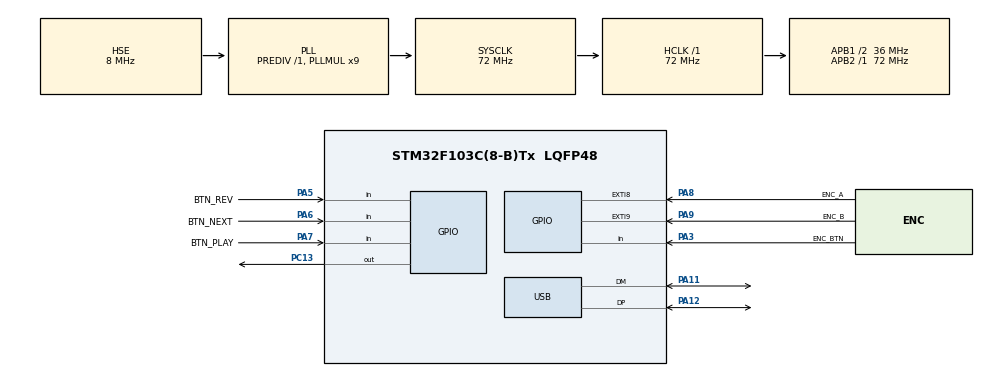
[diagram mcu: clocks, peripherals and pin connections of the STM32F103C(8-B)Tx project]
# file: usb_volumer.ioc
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Mcu.Family=STM32F1
Mcu.Name=STM32F103C(8-B)Tx
Mcu.Package=LQFP48
NVIC.EXTI9_5_IRQn=true\:0\:0\:false\:false\:true\:true\:true
NVIC.PriorityGroup=NVIC_PRIORITYGROUP_4
NVIC.USB_LP_CAN1_RX0_IRQn=true\:0\:0\:false\:false\:true\:false\:true
PA11.Mode=Device
PA11.Signal=USB_DM
PA12.Mode=Device
PA12.Signal=USB_DP
PA13.Mode=Serial_Wire
PA13.Signal=SYS_JTMS-SWDIO
PA14.Mode=Serial_Wire
PA14.Signal=SYS_JTCK-SWCLK
PA3.GPIO_Label=ENC_BTN
PA3.GPIO_PuPd=GPIO_PULLUP
PA3.Signal=GPIO_Input
PA5.GPIO_Label=BTN_REV
PA5.GPIO_PuPd=GPIO_PULLUP
PA5.Signal=GPIO_Input
PA6.GPIO_Label=BTN_NEXT
PA6.GPIO_PuPd=GPIO_PULLUP
PA6.Signal=GPIO_Input
PA7.GPIO_Label=BTN_PLAY
PA7.GPIO_PuPd=GPIO_PULLUP
PA7.Signal=GPIO_Input
PA8.GPIO_Label=ENC_A
PA8.GPIO_ModeDefaultEXTI=GPIO_MODE_IT_RISING_FALLING
PA8.Signal=GPXTI8
PA9.GPIO_Label=ENC_B
PA9.GPIO_ModeDefaultEXTI=GPIO_MODE_IT_RISING_FALLING
PA9.Signal=GPXTI9
PC13-TAMPER-RTC.Signal=GPIO_Output
PD0-OSC_IN.Mode=HSE-External-Oscillator
PD0-OSC_IN.Signal=RCC_OSC_IN
PD1-OSC_OUT.Mode=HSE-External-Oscillator
PD1-OSC_OUT.Signal=RCC_OSC_OUT
ProjectManager.HeapSize=0x200
ProjectManager.StackSize=0x400
ProjectManager.TargetToolchain=MDK-ARM V5.27
RCC.AHBFreq_Value=72000000
RCC.APB1CLKDivider=RCC_HCLK_DIV2
RCC.APB1Freq_Value=36000000
RCC.APB1TimFreq_Value=72000000
RCC.APB2Freq_Value=72000000
RCC.APB2TimFreq_Value=72000000
RCC.HCLKFreq_Value=72000000
RCC.PLLMUL=RCC_PLL_MUL9
RCC.SYSCLKFreq_VALUE=72000000
RCC.SYSCLKSource=RCC_SYSCLKSOURCE_PLLCLK
RCC.USBFreq_Value=48000000
RCC.USBPrescaler=RCC_USBCLKSOURCE_PLL_DIV1_5
USB_DEVICE.CLASS_NAME_FS=HID
USB_DEVICE.VirtualMode=Hid
USB_DEVICE.VirtualModeFS=Hid_FS
VP_USB_DEVICE_VS_USB_DEVICE_HID_FS.Mode=HID_FS
board=custom

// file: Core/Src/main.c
/* USER CODE BEGIN Header */
/**
  ******************************************************************************
  * @file           : main.c
  * @brief          : Main program body
  ******************************************************************************
  * @attention
  *
  * <h2><center>&copy; Copyright (c) 2021 STMicroelectronics.
  * All rights reserved.</center></h2>
  *
  * This software component is licensed by ST under Ultimate Liberty license
  * SLA0044, the "License"; You may not use this file except in compliance with
  * the License. You may obtain a copy of the License at:
  *                             www.st.com/SLA0044
  *
  ******************************************************************************
  */
/* USER CODE END Header */
#include "main.h"
#include "usb_device.h"

/* USER CODE BEGIN Includes */
#include "usbd_core.h"
#include "usbd_hid.h"
/* USER CODE END Includes */

/* USER CODE BEGIN PTD */
#define USB_HID_SCAN_NEXT 0x01
#define USB_HID_SCAN_PREV 0x02
#define USB_HID_STOP      0x04
#define USB_HID_EJECT     0x08
#define USB_HID_PAUSE     0x10
#define USB_HID_MUTE      0x20
#define USB_HID_VOL_UP    0x40
#define USB_HID_VOL_DEC   0x80

// USB keyboard codes
#define USB_HID_MODIFIER_LEFT_CTRL   0x01
#define USB_HID_MODIFIER_LEFT_SHIFT  0x02
#define USB_HID_MODIFIER_LEFT_ALT    0x04
#define USB_HID_MODIFIER_LEFT_GUI    0x08 // (Win/Apple/Meta)
#define USB_HID_MODIFIER_RIGHT_CTRL  0x10
#define USB_HID_MODIFIER_RIGHT_SHIFT 0x20
#define USB_HID_MODIFIER_RIGHT_ALT   0x40
#define USB_HID_MODIFIER_RIGHT_GUI   0x80
#define USB_HID_KEY_L     0x0F

/* USER CODE END PTD */

/* USER CODE BEGIN PM */

extern USBD_HandleTypeDef hUsbDeviceFS;
/* USER CODE END PM */

void SystemClock_Config(void);
static void MX_GPIO_Init(void);
/* USER CODE BEGIN PFP */

//void setCount(int state);
/* USER CODE END PFP */

/* USER CODE BEGIN 0 */
volatile int state = 0;
volatile int rotation_side = 0;
/* USER CODE END 0 */

	void dumb_blinking(void){
		for(int i = 0; i < 2; i++){
			HAL_GPIO_WritePin(GPIOC, GPIO_PIN_13, GPIO_PIN_RESET);
			HAL_Delay(30);
			HAL_GPIO_WritePin(GPIOC, GPIO_PIN_13, GPIO_PIN_SET);
			HAL_Delay(30);
		}
	}

int main(void)
{

  /* MCU Configuration--------------------------------------------------------*/

  /* Reset of all peripherals, Initializes the Flash interface and the Systick. */
  HAL_Init();

  /* Configure the system clock */
  SystemClock_Config();

  /* Initialize all configured peripherals */
  MX_GPIO_Init();
  MX_USB_DEVICE_Init();
  /* USER CODE BEGIN 2 */
	  // HID Mouse

	struct mediaHID_t {
    uint8_t id;
    uint8_t keys;
  };

	struct mediaHID_t mediaHID;
  mediaHID.id = 2;
  mediaHID.keys = 0;

	int mute_state = 0, next_state = 0, play_state = 0, rev_state = 0;
	HAL_GPIO_WritePin(GPIOC, GPIO_PIN_13, GPIO_PIN_SET);
  /* USER CODE END 2 */

  /* Infinite loop */
  while (1)
  {

    /* USER CODE BEGIN 3 */
			if(rotation_side > 0){
				mediaHID.keys = USB_HID_VOL_UP;
					//HAL_GPIO_TogglePin(GPIOC, GPIO_PIN_13);
					HAL_GPIO_WritePin(GPIOC, GPIO_PIN_13, GPIO_PIN_RESET);
					USBD_HID_SendReport(&hUsbDeviceFS, (uint8_t*)&mediaHID, sizeof(struct mediaHID_t));
					HAL_Delay(20);
					mediaHID.keys = 0;
					USBD_HID_SendReport(&hUsbDeviceFS, (uint8_t*)&mediaHID, sizeof(struct mediaHID_t));
					HAL_GPIO_WritePin(GPIOC, GPIO_PIN_13, GPIO_PIN_SET);
					HAL_Delay(20);
					rotation_side = 0;
			}
			else if (rotation_side < 0){
					mediaHID.keys = USB_HID_VOL_DEC;
					//HAL_GPIO_TogglePin(GPIOC, GPIO_PIN_13);
					HAL_GPIO_WritePin(GPIOC, GPIO_PIN_13, GPIO_PIN_RESET);
					USBD_HID_SendReport(&hUsbDeviceFS, (uint8_t*)&mediaHID, sizeof(struct mediaHID_t));
					HAL_Delay(20);
					mediaHID.keys = 0;
					USBD_HID_SendReport(&hUsbDeviceFS, (uint8_t*)&mediaHID, sizeof(struct mediaHID_t));
					HAL_GPIO_WritePin(GPIOC, GPIO_PIN_13, GPIO_PIN_SET);
					HAL_Delay(20);
				rotation_side = 0;
			}

		if(HAL_GPIO_ReadPin(ENC_BTN_GPIO_Port, ENC_BTN_Pin)){
			if (mute_state){
				mediaHID.keys = USB_HID_MUTE;
				mute_state = 0;
				dumb_blinking();
				USBD_HID_SendReport(&hUsbDeviceFS, (uint8_t*)&mediaHID, sizeof(struct mediaHID_t));
				HAL_Delay(20);
				mediaHID.keys = 0;
				USBD_HID_SendReport(&hUsbDeviceFS, (uint8_t*)&mediaHID, sizeof(struct mediaHID_t));
				HAL_Delay(20);

			}
		}
		else{
			mute_state = 1;
		}

		if(HAL_GPIO_ReadPin(BTN_NEXT_GPIO_Port, BTN_NEXT_Pin)){
			if (next_state){
				mediaHID.keys = USB_HID_SCAN_NEXT;
				next_state = 0;
				dumb_blinking();
				USBD_HID_SendReport(&hUsbDeviceFS, (uint8_t*)&mediaHID, sizeof(struct mediaHID_t));
				HAL_Delay(20);
				mediaHID.keys = 0;
				USBD_HID_SendReport(&hUsbDeviceFS, (uint8_t*)&mediaHID, sizeof(struct mediaHID_t));
				HAL_Delay(20);

			}
		}
		else{
			next_state = 1;
		}

		if(HAL_GPIO_ReadPin(BTN_PLAY_GPIO_Port, BTN_PLAY_Pin)){
			if (play_state){
				mediaHID.keys = USB_HID_PAUSE;
				play_state = 0;
				dumb_blinking();
				USBD_HID_SendReport(&hUsbDeviceFS, (uint8_t*)&mediaHID, sizeof(struct mediaHID_t));
				HAL_Delay(20);
				mediaHID.keys = 0;
				USBD_HID_SendReport(&hUsbDeviceFS, (uint8_t*)&mediaHID, sizeof(struct mediaHID_t));
				HAL_Delay(20);

			}
		}
		else{
			play_state = 1;
		}

		if(HAL_GPIO_ReadPin(BTN_REV_GPIO_Port, BTN_REV_Pin)){
			if (rev_state){
				mediaHID.keys = USB_HID_SCAN_PREV;
				rev_state = 0;
				dumb_blinking();
				USBD_HID_SendReport(&hUsbDeviceFS, (uint8_t*)&mediaHID, sizeof(struct mediaHID_t));
				HAL_Delay(20);
				mediaHID.keys = 0;
				USBD_HID_SendReport(&hUsbDeviceFS, (uint8_t*)&mediaHID, sizeof(struct mediaHID_t));
				HAL_Delay(20);

			}
		}
		else{
			rev_state = 1;
		}
  }
  /* USER CODE END 3 */
}

void SystemClock_Config(void)
{
  RCC_OscInitTypeDef RCC_OscInitStruct = {0};
  RCC_ClkInitTypeDef RCC_ClkInitStruct = {0};
  RCC_PeriphCLKInitTypeDef PeriphClkInit = {0};

  /** Initializes the RCC Oscillators according to the specified parameters
  * in the RCC_OscInitTypeDef structure.
  */
  RCC_OscInitStruct.OscillatorType = RCC_OSCILLATORTYPE_HSE;
  RCC_OscInitStruct.HSEState = RCC_HSE_ON;
  RCC_OscInitStruct.HSEPredivValue = RCC_HSE_PREDIV_DIV1;
  RCC_OscInitStruct.HSIState = RCC_HSI_ON;
  RCC_OscInitStruct.PLL.PLLState = RCC_PLL_ON;
  RCC_OscInitStruct.PLL.PLLSource = RCC_PLLSOURCE_HSE;
  RCC_OscInitStruct.PLL.PLLMUL = RCC_PLL_MUL9;
  if (HAL_RCC_OscConfig(&RCC_OscInitStruct) != HAL_OK)
  {
    Error_Handler();
  }
  /** Initializes the CPU, AHB and APB buses clocks
  */
  RCC_ClkInitStruct.ClockType = RCC_CLOCKTYPE_HCLK|RCC_CLOCKTYPE_SYSCLK
                              |RCC_CLOCKTYPE_PCLK1|RCC_CLOCKTYPE_PCLK2;
  RCC_ClkInitStruct.SYSCLKSource = RCC_SYSCLKSOURCE_PLLCLK;
  RCC_ClkInitStruct.AHBCLKDivider = RCC_SYSCLK_DIV1;
  RCC_ClkInitStruct.APB1CLKDivider = RCC_HCLK_DIV2;
  RCC_ClkInitStruct.APB2CLKDivider = RCC_HCLK_DIV1;

  if (HAL_RCC_ClockConfig(&RCC_ClkInitStruct, FLASH_LATENCY_2) != HAL_OK)
  {
    Error_Handler();
  }
  PeriphClkInit.PeriphClockSelection = RCC_PERIPHCLK_USB;
  PeriphClkInit.UsbClockSelection = RCC_USBCLKSOURCE_PLL_DIV1_5;
  if (HAL_RCCEx_PeriphCLKConfig(&PeriphClkInit) != HAL_OK)
  {
    Error_Handler();
  }
}

static void MX_GPIO_Init(void)
{
  GPIO_InitTypeDef GPIO_InitStruct = {0};

  /* GPIO Ports Clock Enable */
  __HAL_RCC_GPIOC_CLK_ENABLE();
  __HAL_RCC_GPIOD_CLK_ENABLE();
  __HAL_RCC_GPIOA_CLK_ENABLE();

  /*Configure GPIO pin Output Level */
  HAL_GPIO_WritePin(GPIOC, GPIO_PIN_13, GPIO_PIN_RESET);

  /*Configure GPIO pin : PC13 */
  GPIO_InitStruct.Pin = GPIO_PIN_13;
  GPIO_InitStruct.Mode = GPIO_MODE_OUTPUT_PP;
  GPIO_InitStruct.Pull = GPIO_NOPULL;
  GPIO_InitStruct.Speed = GPIO_SPEED_FREQ_LOW;
  HAL_GPIO_Init(GPIOC, &GPIO_InitStruct);

  /*Configure GPIO pins : ENC_BTN_Pin BTN_PLAY_Pin BTN_NEXT_Pin BTN_REV_Pin */
  GPIO_InitStruct.Pin = ENC_BTN_Pin|BTN_PLAY_Pin|BTN_NEXT_Pin|BTN_REV_Pin;
  GPIO_InitStruct.Mode = GPIO_MODE_INPUT;
  GPIO_InitStruct.Pull = GPIO_PULLUP;
  HAL_GPIO_Init(GPIOA, &GPIO_InitStruct);

  /*Configure GPIO pins : ENC_A_Pin ENC_B_Pin */
  GPIO_InitStruct.Pin = ENC_B_Pin;
  GPIO_InitStruct.Mode = GPIO_MODE_IT_RISING_FALLING;
  GPIO_InitStruct.Pull = GPIO_PULLDOWN;
  HAL_GPIO_Init(GPIOA, &GPIO_InitStruct);

	GPIO_InitStruct.Pin = ENC_A_Pin;
  GPIO_InitStruct.Mode = GPIO_MODE_INPUT;
  GPIO_InitStruct.Pull = GPIO_PULLDOWN;
  HAL_GPIO_Init(GPIOA, &GPIO_InitStruct);

  /* EXTI interrupt init*/
  HAL_NVIC_SetPriority(EXTI9_5_IRQn, 0, 0);
  HAL_NVIC_EnableIRQ(EXTI9_5_IRQn);

}

/* USER CODE BEGIN 4 */

void b_fall(void){
	if (state == 2 && !HAL_GPIO_ReadPin(ENC_A_GPIO_Port, ENC_A_Pin)){
		rotation_side += -1;
		state = 0;
	}
	else if (state == 4 && !HAL_GPIO_ReadPin(ENC_A_GPIO_Port, ENC_A_Pin)){
		rotation_side += 1;
		state = 0;
	}
	else {
		state = 0;
	}
}

void b_rise(void){
	if (state == 0 && !HAL_GPIO_ReadPin(ENC_A_GPIO_Port, ENC_A_Pin)){
		state = 3;
		GPIO_InitTypeDef GPIO_InitStruct = {0};
		GPIO_InitStruct.Pin = ENC_A_Pin;
		GPIO_InitStruct.Mode = GPIO_MODE_IT_RISING;
		GPIO_InitStruct.Pull = GPIO_PULLDOWN;
		HAL_GPIO_Init(GPIOA, &GPIO_InitStruct);
	}
	else if (state == 0 && HAL_GPIO_ReadPin(ENC_A_GPIO_Port, ENC_A_Pin)){
		state = 1;
		GPIO_InitTypeDef GPIO_InitStruct = {0};
		GPIO_InitStruct.Pin = ENC_A_Pin;
		GPIO_InitStruct.Mode = GPIO_MODE_IT_FALLING;
		GPIO_InitStruct.Pull = GPIO_PULLDOWN;
		HAL_GPIO_Init(GPIOA, &GPIO_InitStruct);
	}
	else {
		state = 0;
	}
}

void a_fall(void){
		GPIO_InitTypeDef GPIO_InitStruct = {0};
		GPIO_InitStruct.Pin = ENC_A_Pin;
		GPIO_InitStruct.Mode = GPIO_MODE_INPUT;
		GPIO_InitStruct.Pull = GPIO_PULLDOWN;
		HAL_GPIO_Init(GPIOA, &GPIO_InitStruct);
	if (state == 1 && HAL_GPIO_ReadPin(ENC_B_GPIO_Port, ENC_B_Pin)){
		state = 2;
	}
	else{
		state = 0;
	}

}

void a_rise(void){
		GPIO_InitTypeDef GPIO_InitStruct = {0};
		GPIO_InitStruct.Pin = ENC_A_Pin;
		GPIO_InitStruct.Mode = GPIO_MODE_INPUT;
		GPIO_InitStruct.Pull = GPIO_PULLDOWN;
		HAL_GPIO_Init(GPIOA, &GPIO_InitStruct);
	if (state == 3 && HAL_GPIO_ReadPin(ENC_B_GPIO_Port, ENC_B_Pin)){
		state = 4;
	}
	else{
		state = 0;
	}
}

void HAL_GPIO_EXTI_Callback(uint16_t GPIO_Pin)
{
	if(GPIO_Pin==ENC_A_Pin){
		for(int i = 0; i < 100; i++){};
		if (HAL_GPIO_ReadPin(ENC_A_GPIO_Port, ENC_A_Pin)){
			a_rise();
		}
		else{
			a_fall();
		}
	}else{
		for(int i = 0; i < 100; i++){};
		if (HAL_GPIO_ReadPin(ENC_B_GPIO_Port, ENC_B_Pin)){
			b_rise();
		}
		else{
			b_fall();
		}
	}

}

//code for normal encoder
//AB
//00 state 0
//01 state 1	10 state 4
//11 state 2	11 state 5
//10 state 3	01 state 6
//00 state 4	00 state 9

//void b_fall(void){
//	if (state == 2 && HAL_GPIO_ReadPin(ENC_A_GPIO_Port, ENC_A_Pin)){
//		state = 3;
//	}
//	else if (state == 6 && !HAL_GPIO_ReadPin(ENC_A_GPIO_Port, ENC_A_Pin)){
//		rotation_side += -1;
//		state = 0;
//	}
//	else {
//		state = 0;
//	}
//}

//void b_rise(void){
//	if (state == 4 && HAL_GPIO_ReadPin(ENC_A_GPIO_Port, ENC_A_Pin)){
//		state = 5;
//	}
//	else if (state == 0 && !HAL_GPIO_ReadPin(ENC_A_GPIO_Port, ENC_A_Pin)){
//		state = 1;
//	}
//	else {
//		state = 0;
//	}
//}

//void a_fall(void){
//	if (state == 3 && !HAL_GPIO_ReadPin(ENC_B_GPIO_Port, ENC_B_Pin)){
//		rotation_side += 1;
//		state = 0;
//	}
//	else if (state == 5 && HAL_GPIO_ReadPin(ENC_B_GPIO_Port, ENC_B_Pin)){
//		state = 6;
//	}
//	else {
//		state = 0;
//	}
//}

//void a_rise(void){
//	if (state == 0 && !HAL_GPIO_ReadPin(ENC_B_GPIO_Port, ENC_B_Pin)){
//		state = 4;
//	}
//	else if (state == 1 && HAL_GPIO_ReadPin(ENC_B_GPIO_Port, ENC_B_Pin)){
//		state = 2;
//	}
//	else {
//		state = 0;
//	}
//}

/* USER CODE END 4 */

void Error_Handler(void)
{
}

/************************ (C) COPYRIGHT STMicroelectronics *****END OF FILE****/
